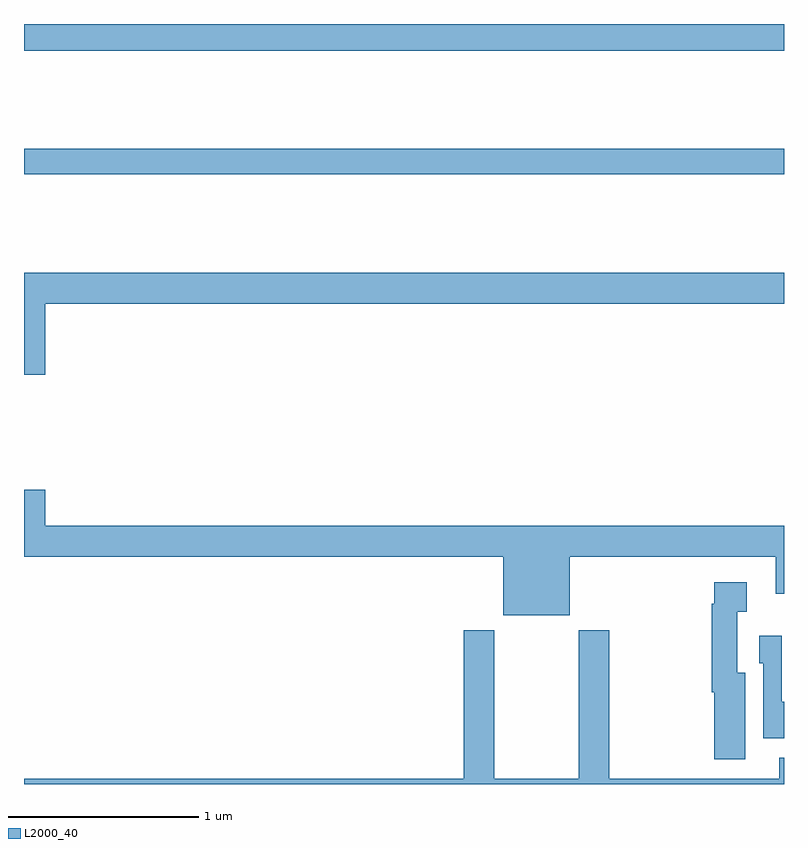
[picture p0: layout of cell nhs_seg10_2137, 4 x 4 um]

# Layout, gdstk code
import gdstk
lib = gdstk.Library(unit=1e-6, precision=1e-09)
def R(c, l, rs):  # rectangles x0, y0, x1, y1
    for r in rs: c.add(gdstk.rectangle(r[:2], r[2:], *l))
def P(c, l, *ps):  # polygons
    for p in ps: c.add(gdstk.Polygon(p, *l))
L2000_40 = (2000, 40)

nhs_seg10_2137 = lib.new_cell('nhs_seg10_2137')
R(nhs_seg10_2137, L2000_40, [(225,1255.708,229,1255.844), (225,1256.36,229,1256.5)])
P(nhs_seg10_2137, L2000_40, [(225.112,1255.028),(229,1255.028),(229,1255.192),(225,1255.192),(225,1254.654),(225.112,1254.654)],
  [(227.872,1253.696),(228.956,1253.696),(228.956,1253.502),(229,1253.502),(229,1253.86),(225.112,1253.86),(225.112,1254.049),(225,1254.049),(225,1253.696),(227.522,1253.696),(227.522,1253.387),(227.872,1253.387)],
  [(228.796,1253.086),(228.754,1253.086),(228.754,1253.407),(228.805,1253.407),(228.805,1253.563),(228.632,1253.563),(228.632,1253.45),(228.62,1253.45),(228.62,1252.982),(228.632,1252.982),(228.632,1252.629),(228.796,1252.629)],
  [(229,1252.638),(228.974,1252.638),(228.974,1252.528),(228.08,1252.528),(228.08,1253.308),(227.92,1253.308),(227.92,1252.528),(227.475,1252.528),(227.475,1253.308),(227.315,1253.308),(227.315,1252.528),(225,1252.528),(225,1252.5),(229,1252.5)],
  [(229,1252.933),(228.987,1252.933),(228.987,1253.281),(228.87,1253.281),(228.87,1253.136),(228.891,1253.136),(228.891,1252.74),(229,1252.74)])

lib.write_gds('nhs_seg10_2137.gds')
